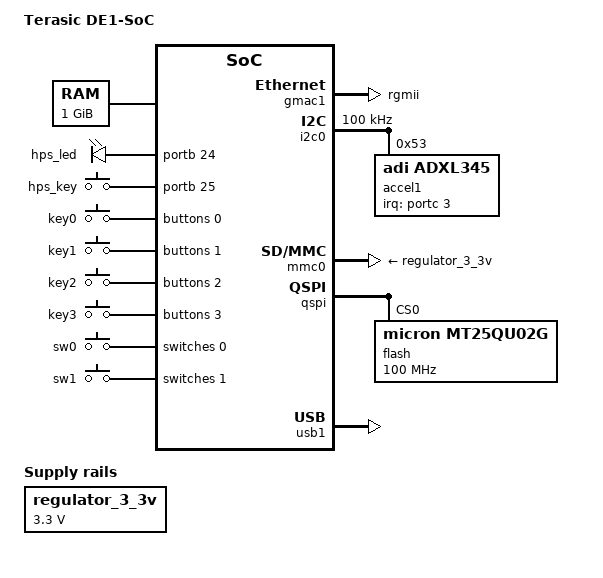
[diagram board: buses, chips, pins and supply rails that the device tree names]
// SPDX-License-Identifier: GPL-2.0+
/*
 * Copyright (C) 2013 Steffen Trumtrar <s.trumtrar@pengutronix.de>
 */

#include "socfpga_cyclone5.dtsi"

/ {
	model = "Terasic DE1-SoC";
	compatible = "terasic,socfpga-cyclone5-sockit", "altr,socfpga-cyclone5", "altr,socfpga";

	chosen {
		bootargs = "earlyprintk";
		stdout-path = "serial0:115200n8";
	};

	memory@0 {
		name = "memory";
		device_type = "memory";
		reg = <0x0 0x40000000>; /* 1GB */
	};

	aliases {
		/* this allow the ethaddr uboot environmnet variable contents
		 * to be added to the gmac1 device tree blob.
		 */
		ethernet0 = &gmac1;
	};

	leds {
		compatible = "gpio-leds";

		hps_led {
			label = "hps_led";
			gpios = <&portb 24 0>;	/* HPS_GPIO53 */
			linux,default-trigger = "heartbeat";
		};
	};

	gpio-keys {
		compatible = "gpio-keys";

		hps_key {
			label = "hps_key";
			gpios = <&portb 25 0>;	/* HPS_GPI8 */
			linux,code = <16>;	/* KEY_F17 */
		};
	};

	gpio-keys-polled {
		compatible = "gpio-keys-polled";
		poll-interval = <10>;

		key0 {
			label = "key0";
			gpios = <&buttons 0 0>;	
			linux,code = <17>;	
		};
		
		key1 {
			label = "key1";
			gpios = <&buttons 1 0>;	
			linux,code = <18>;	
		};
		
		key2 {
			label = "key2";
			gpios = <&buttons 2 0>;
			linux,code = <19>;
		};
		
		key3 {
			label = "key3";
			gpios = <&buttons 3 0>;	
			linux,code = <20>;
		};

		sw0 {
			label = "sw0";
			gpios = <&switches 0 0>;	
			linux,code = <30>;
		};

		sw1 {
			label = "sw1";
			gpios = <&switches 1 0>;	
			linux,code = <31>;
		};
	};
	

	hex0: gpio@ff200060 {
		compatible = "altr,pio-1.0";
		reg = <0xff200060 0x10>;
		altr,ngpio = <7>;
		#gpio-cells = <2>;
		gpio-controller;
	};
	
	hex1: gpio@ff200050 {
		compatible = "altr,pio-1.0";
		reg = <0xff200050 0x10>;
		altr,ngpio = <7>;
		#gpio-cells = <2>;
		gpio-controller;
	};
	
	hex2: gpio@ff200040 {
		compatible = "altr,pio-1.0";
		reg = <0xff200040 0x10>;
		altr,ngpio = <7>;
		#gpio-cells = <2>;
		gpio-controller;
	};
	
	hex3: gpio@ff200030 {
		compatible = "altr,pio-1.0";
		reg = <0xff200030 0x10>;
		altr,ngpio = <7>;
		#gpio-cells = <2>;
		gpio-controller;
	};
	
	hex4: gpio@ff200020 {
		compatible = "altr,pio-1.0";
		reg = <0xff200020 0x10>;
		altr,ngpio = <7>;
		#gpio-cells = <2>;
		gpio-controller;
	};
	
	hex5: gpio@ff200010 {
		compatible = "altr,pio-1.0";
		reg = <0xff200010 0x10>;
		altr,ngpio = <7>;
		#gpio-cells = <2>;
		gpio-controller;
	};
	
	buttons: gpio@ff200090 {
		compatible = "altr,pio-1.0";
		reg = <0xff200090 0x10>;
		altr,ngpio = <4>;
		#gpio-cells = <2>;
		gpio-controller;
	};

	switches: gpio@ff200080 {
		compatible = "altr,pio-1.0";
		reg = <0xff200080 0x10>;
		altr,ngpio = <10>;
		#gpio-cells = <2>;
		gpio-controller;
	};

	regulator_3_3v: regulator {
		compatible = "regulator-fixed";
		regulator-name = "VCC3P3";
		regulator-min-microvolt = <3300000>;
		regulator-max-microvolt = <3300000>;
	};
};

&gmac1 {
	status = "okay";
	phy-mode = "rgmii";

	rxd0-skew-ps = <0>;
	rxd1-skew-ps = <0>;
	rxd2-skew-ps = <0>;
	rxd3-skew-ps = <0>;
	txen-skew-ps = <0>;
	txc-skew-ps = <2600>;
	rxdv-skew-ps = <0>;
	rxc-skew-ps = <2000>;
};

&gpio0 {	/* GPIO 0..29 */
	status = "okay";
};

&gpio1 {	/* GPIO 30..57 */
	status = "okay";
};

&gpio2 {	/* GPIO 58..66 (HLGPI 0..13 at offset 13) */
	status = "okay";
};

&i2c0 {
	status = "okay";
	clock-frequency = <100000>;

	accel1: accelerometer@53 {
		compatible = "adi,adxl345";
		reg = <0x53>;

		interrupt-parent = <&portc>;
		interrupts = <3 2>;
	};
};

&mmc0 {
	vmmc-supply = <&regulator_3_3v>;
	vqmmc-supply = <&regulator_3_3v>;
	status = "okay";
};

&qspi {
	status = "okay";

	flash: flash@0 {
		#address-cells = <1>;
		#size-cells = <1>;
		compatible = "micron,mt25qu02g", "jedec,spi-nor";
		reg = <0>;
		spi-max-frequency = <100000000>;

		m25p,fast-read;
		cdns,page-size = <256>;
		cdns,block-size = <16>;
		cdns,read-delay = <4>;
		cdns,tshsl-ns = <50>;
		cdns,tsd2d-ns = <50>;
		cdns,tchsh-ns = <4>;
		cdns,tslch-ns = <4>;
	};
};

&usb1 {
	status = "okay";
};
